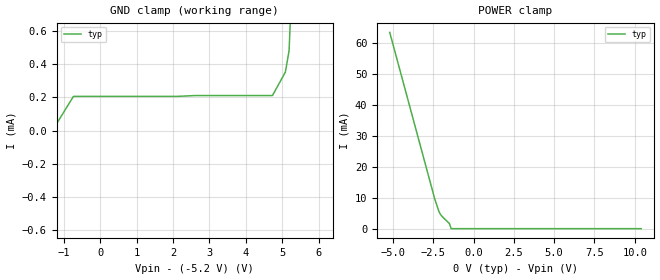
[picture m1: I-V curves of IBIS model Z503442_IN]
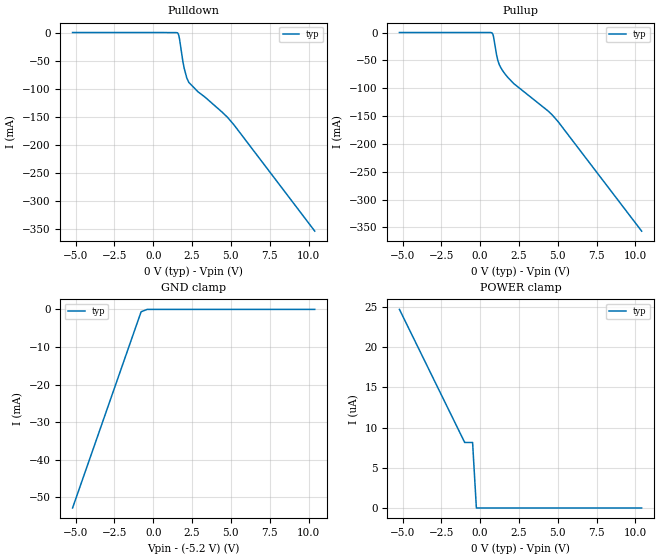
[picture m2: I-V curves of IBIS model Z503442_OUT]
| YOU ARE ONLY AUTHORIZED TO USE THIS SOFTWARE
| ACCORDING TO LICENSOR'S LICENSE RESTRICTIONS.
[IBIS Ver] 3.1
[File Name] mc10h116l.ibs
[File Rev] 2.0
[Source] Measured and created by ICX Technology
[Date] Friday 7/14/00 9:07:50 AM
[Copyright]
| (C) COPYRIGHT 1993-2000
| MENTOR GRAPHICS CORPORATION
| ICX STANDARD LIBRARY, ICX PROJECT MODELING,
| ICX CUSTOM MODELING, ICX VENDOR MODEL
| ALL RIGHTS RESERVED.
| THE FOLLOWING ARE TRADEMARKS OR SERVICE MARKS OF
| MENTOR GRAPHICS CORPORATION:ICX (R), ICX STANDARD
| LIBRARY(R), ICX PROJECT MODELING(R), ICX CUSTOM
| MODELING(R), qualityIBIS(TM), MODELVIEWER(TM),
| AND MODELEDITOR(TM)
| ALL COPIES OF SOFTWARE, INCLUDING BUT NOT LIMITED TO
| ANY MODIFICATIONS, ENHANCEMENTS OR DERIVATIVE WORKS,
| MUST CONTAIN ALL MENTOR GRAPHICS CORPORATION'S
| NOTICES AND LEGENDS, INCLUDING THOSE EMBEDDED IN
| SOFTWARE AND THOSE AFFIXED TO SOFTWARE MEDIUM
| AND CONTAINER, AS RECEIVED FROM MENTOR GRAPHICS
| CORPORATION.
|  ZAP Model Builder 2.7
[Component] MC10H116L
[Manufacturer] OnSemiconductor
[Package]
| variable   typ   min   max
R_pkg  .212ohms NA NA
L_pkg  4.758nH NA NA
C_pkg  1.944pF NA NA
[Pin] signal_name  model_name  R_pin  L_pin C_pin
1 VCC1 POWER .224 7.258n 2.683p
2 _AOUT Z503442_OUT .216 5.258n 2.19p
3 AOUT Z503442_OUT .208 3.758n 1.697p
4 _AIN Z503442_IN .2 2.758n 1.204p
5 AIN Z503442_IN .2 2.758n 1.204p
6 _BOUT Z503442_OUT .208 3.758n 1.697p
7 BOUT Z503442_OUT .216 5.258n 2.19p
8 VEE POWER .224 7.258n 2.683p
9 _BIN Z503442_IN .224 7.258n 2.683p
10 BIN Z503442_IN .216 5.258n 2.19p
11 VBB POWER .208 3.758n 1.697p
12 _CIN Z503442_IN .2 2.758n 1.204p
13 CIN Z503442_IN .2 2.758n 1.204p
14 _COUT Z503442_OUT .208 3.758n 1.697p
15 COUT Z503442_OUT .216 5.258n 2.19p
16 VCC2 POWER .224 7.258n 2.683p
| Models and submodels in the file (2): Z503442_IN (Input_ECL), Z503442_OUT (Output_ECL)
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| (C) COPYRIGHT 1993-2000
| MENTOR GRAPHICS CORPORATION
| ICX STANDARD LIBRARY, ICX PROJECT MODELING,
| ICX CUSTOM MODELING, ICX VENDOR MODEL
| ALL RIGHTS RESERVED.
| THE FOLLOWING ARE TRADEMARKS OR SERVICE MARKS OF
| MENTOR GRAPHICS CORPORATION:ICX (R), ICX STANDARD
| LIBRARY(R), ICX PROJECT MODELING(R), ICX CUSTOM
| MODELING(R), qualityIBIS(TM), MODELVIEWER(TM),
| AND MODELEDITOR(TM)
| ALL COPIES OF SOFTWARE, INCLUDING BUT NOT LIMITED TO
| ANY MODIFICATIONS, ENHANCEMENTS OR DERIVATIVE WORKS,
| MUST CONTAIN ALL MENTOR GRAPHICS CORPORATION'S
| NOTICES AND LEGENDS, INCLUDING THOSE EMBEDDED IN
| SOFTWARE AND THOSE AFFIXED TO SOFTWARE MEDIUM
| AND CONTAINER, AS RECEIVED FROM MENTOR GRAPHICS
| CORPORATION.
| Model Application Version 1.89 2/18/99.
[Model] Z503442_IN
Model_type Input_ECL
Vinl = -1.480V
Vinh = -1.130V
C_comp 4.000pF NA NA
| variable typ   min   max
[Voltage Range] -5.200V NA NA
[GND Clamp Reference] -5.200V NA NA
[POWER Clamp Reference] 0.000V NA NA
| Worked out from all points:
|   POWER clamp passes 1 mA (typ) near -1.45 V on its own axis
[GND Clamp]
-5.2V     -1.386mA   NA         NA
-735mV    206.1uA    NA         NA
2.126V    206.1uA    NA         NA
2.602V    211uA      NA         NA
4.733V    211uA      NA         NA
5.088V    352.5uA    NA         NA
5.19V     481.8uA    NA         NA
10.4V     28.84mA    NA         NA
[POWER Clamp]
-5.2V     63.59mA    NA         NA
-2.42V    9.871mA    NA         NA
-2.163V   5.79mA     NA         NA
-2.066V   4.688mA    NA         NA
-1.908V   3.728mA    NA         NA
-1.494V   1.642mA    NA         NA
-1.387V   0A         NA         NA
10.4V     0A         NA         NA
| (C) COPYRIGHT 1993-2000
| MENTOR GRAPHICS CORPORATION
| ICX STANDARD LIBRARY, ICX PROJECT MODELING,
| ICX CUSTOM MODELING, ICX VENDOR MODEL
| ALL RIGHTS RESERVED.
| THE FOLLOWING ARE TRADEMARKS OR SERVICE MARKS OF
| MENTOR GRAPHICS CORPORATION:ICX (R), ICX STANDARD
| LIBRARY(R), ICX PROJECT MODELING(R), ICX CUSTOM
| MODELING(R), qualityIBIS(TM), MODELVIEWER(TM),
| AND MODELEDITOR(TM)
| ALL COPIES OF SOFTWARE, INCLUDING BUT NOT LIMITED TO
| ANY MODIFICATIONS, ENHANCEMENTS OR DERIVATIVE WORKS,
| MUST CONTAIN ALL MENTOR GRAPHICS CORPORATION'S
| NOTICES AND LEGENDS, INCLUDING THOSE EMBEDDED IN
| SOFTWARE AND THOSE AFFIXED TO SOFTWARE MEDIUM
| AND CONTAINER, AS RECEIVED FROM MENTOR GRAPHICS
| CORPORATION.
| Model Application Version 1.89 2/18/99.
[Model] Z503442_OUT
Model_type Output_ECL
Vref=-2.000V
Rref=50.00ohms
Cref=0.000F
Vmeas=-1.305V
C_comp 8.000pF NA NA
| variable typ   min   max
[Voltage Range] -5.200V NA NA
[POWER Clamp Reference] 0.000V NA NA
[Pullup Reference] 0.000V NA NA
[Pulldown Reference] 0.000V NA NA
[GND Clamp Reference] -5.200V NA NA
[GND Clamp]
-5.2V     -52.81mA   NA         NA
-786mV    -641.2uA   NA         NA
-393mV    0A         NA         NA
10.4V     0A         NA         NA
[Pulldown]
-5.2V     134.8uA    NA         NA
1.587V    -1.113mA   NA         NA
1.641V    -4.857mA   NA         NA
1.692V    -11.84mA   NA         NA
1.905V    -51.55mA   NA         NA
1.993V    -64.09mA   NA         NA
2.157V    -81mA      NA         NA
2.285V    -88.8mA    NA         NA
2.886V    -105.9mA   NA         NA
4.463V    -142.8mA   NA         NA
5.181V    -164.2mA   NA         NA
10.4V     -354.5mA   NA         NA
[Pullup]
-5.2V     99.95uA    NA         NA
768.5mV   -721.3uA   NA         NA
824.5mV   -3.501mA   NA         NA
859.2mV   -7.292mA   NA         NA
1.06V     -40.6mA    NA         NA
1.133V    -49.54mA   NA         NA
1.279V    -60.41mA   NA         NA
1.528V    -71.69mA   NA         NA
2.164V    -91.67mA   NA         NA
4.367V    -140.7mA   NA         NA
5.005V    -159.5mA   NA         NA
10.4V     -356.7mA   NA         NA
[POWER Clamp]
-5.2V     24.7uA     NA         NA
-996.1mV  8.15uA     NA         NA
-488.2mV  8.15uA     NA         NA
-244.1mV  0A         NA         NA
10.4V     0A         NA         NA
[Ramp]
| variable typ min max
dV/dt_r 462.1m/480.9p NA NA
dV/dt_f 462.1m/350.0p NA NA
R_load = 500.0Ohms
